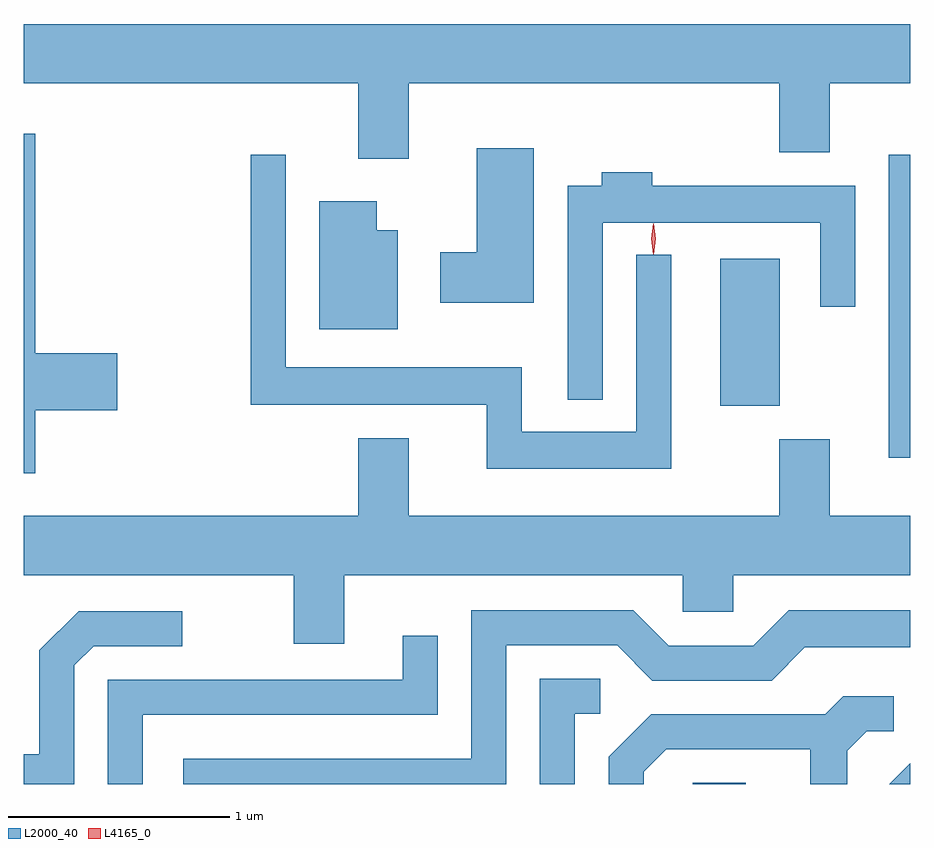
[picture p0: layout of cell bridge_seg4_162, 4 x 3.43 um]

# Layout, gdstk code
import gdstk
lib = gdstk.Library(unit=1e-6, precision=1e-09)
def R(c, l, rs):  # rectangles x0, y0, x1, y1
    for r in rs: c.add(gdstk.rectangle(r[:2], r[2:], *l))
def P(c, l, *ps):  # polygons
    for p in ps: c.add(gdstk.Polygon(p, *l))
L2000_40 = (2000, 40)
L4165_0 = (4165, 0)

bridge_seg4_162 = lib.new_cell('bridge_seg4_162')
R(bridge_seg4_162, L2000_40, [(951.801,1300.454,952.039,1300.459), (952.686,1301.926,952.782,1303.293), (951.926,1302.161,952.194,1302.824)])
P(bridge_seg4_162, L2000_40, [(950.519,1303.616),(952.191,1303.616),(952.191,1303.306),(952.419,1303.306),(952.419,1303.616),(952.782,1303.616),(952.782,1303.884),(948.782,1303.884),(948.782,1303.616),(950.291,1303.616),(950.291,1303.276),(950.519,1303.276)],
  [(948.834,1302.141),(949.204,1302.141),(949.204,1302.399),(948.834,1302.399),(948.834,1303.389),(948.782,1303.389),(948.782,1301.856),(948.834,1301.856)],
  [(951.084,1303.324),(950.826,1303.324),(950.826,1302.854),(950.661,1302.854),(950.661,1302.626),(951.084,1302.626)],
  [(951.704,1302.843),(951.546,1302.843),(951.546,1302.044),(951.029,1302.044),(951.029,1302.334),(949.964,1302.334),(949.964,1303.293),(949.806,1303.293),(949.806,1302.166),(950.871,1302.166),(950.871,1301.876),(951.704,1301.876)],
  [(951.394,1302.986),(952.376,1302.986),(952.376,1302.608),(952.534,1302.608),(952.534,1303.154),(951.619,1303.154),(951.619,1303.214),(951.391,1303.214),(951.391,1303.154),(951.236,1303.154),(951.236,1302.188),(951.394,1302.188)],
  [(950.469,1302.954),(950.374,1302.954),(950.374,1303.084),(950.116,1303.084),(950.116,1302.506),(950.469,1302.506)],
  [(950.229,1301.396),(951.756,1301.396),(951.756,1301.231),(951.984,1301.231),(951.984,1301.396),(952.782,1301.396),(952.782,1301.664),(952.419,1301.664),(952.419,1302.009),(952.191,1302.009),(952.191,1301.664),(950.519,1301.664),(950.519,1302.014),(950.291,1302.014),(950.291,1301.664),(948.782,1301.664),(948.782,1301.396),(950.001,1301.396),(950.001,1301.086),(950.229,1301.086)],
  [(950.959,1301.081),(951.459,1301.081),(951.619,1300.921),(952.157,1300.921),(952.307,1301.071),(952.782,1301.071),(952.782,1301.239),(952.234,1301.239),(952.074,1301.079),(951.692,1301.079),(951.532,1301.239),(950.801,1301.239),(950.801,1300.569),(949.501,1300.569),(949.501,1300.454),(950.959,1300.454)],
  [(949.009,1300.989),(949.097,1301.076),(949.498,1301.076),(949.498,1301.234),(949.029,1301.234),(948.851,1301.057),(948.851,1300.589),(948.782,1300.589),(948.782,1300.454),(949.009,1300.454)],
  [(949.319,1300.766),(950.649,1300.766),(950.649,1301.123),(950.491,1301.123),(950.491,1300.924),(949.161,1300.924),(949.161,1300.454),(949.319,1300.454)],
  [(951.269,1300.771),(951.383,1300.771),(951.383,1300.929),(951.111,1300.929),(951.111,1300.454),(951.269,1300.454)],
  [(951.579,1300.509),(951.682,1300.611),(952.331,1300.611),(952.331,1300.454),(952.499,1300.454),(952.499,1300.604),(952.587,1300.691),(952.708,1300.691),(952.708,1300.849),(952.479,1300.849),(952.399,1300.769),(951.614,1300.769),(951.421,1300.577),(951.421,1300.454),(951.579,1300.454)],
  [(952.782,1300.548),(952.688,1300.454),(952.782,1300.454)])
P(bridge_seg4_162, L4165_0, [(951.623,1302.847),(951.622,1302.848),(951.613,1302.914),(951.622,1302.98),(951.623,1302.981),(951.623,1302.98),(951.633,1302.914),(951.623,1302.848)],
  [(951.623,1302.844),(951.614,1302.914),(951.623,1302.983),(951.624,1302.983),(951.624,1302.983),(951.634,1302.914),(951.624,1302.844),(951.624,1302.844)])

lib.write_gds('bridge_seg4_162.gds')
